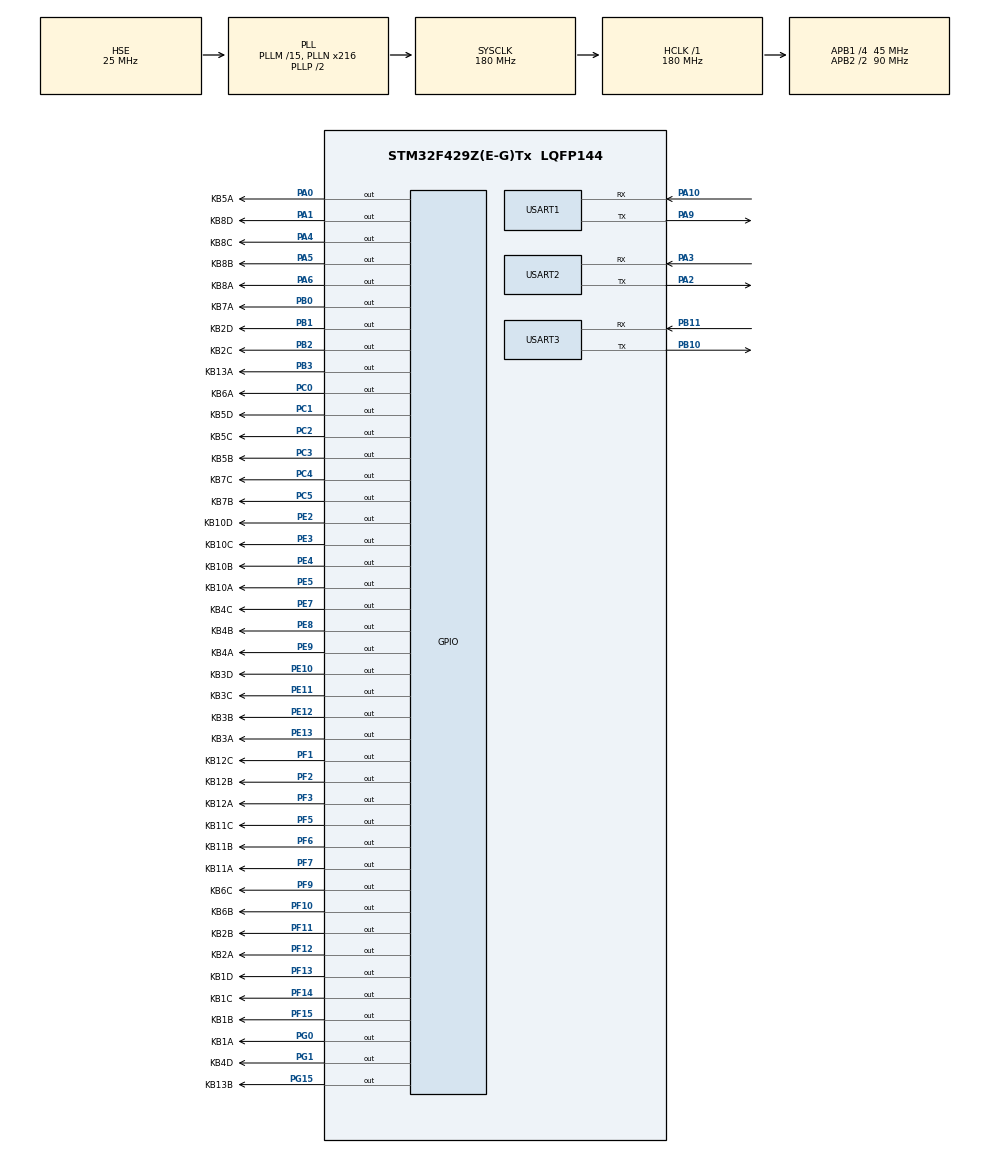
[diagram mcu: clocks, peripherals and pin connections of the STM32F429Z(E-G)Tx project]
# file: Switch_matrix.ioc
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Mcu.Family=STM32F4
Mcu.Name=STM32F429Z(E-G)Tx
Mcu.Package=LQFP144
NVIC.PriorityGroup=NVIC_PRIORITYGROUP_2
NVIC.USART1_IRQn=true\:1\:1\:true\:false\:true\:true\:true\:true
NVIC.USART2_IRQn=true\:1\:2\:true\:false\:true\:true\:true\:true
NVIC.USART3_IRQn=true\:1\:0\:true\:false\:true\:true\:true\:true
PA0/WKUP.GPIO_Label=KB5A
PA0/WKUP.Signal=GPIO_Output
PA1.GPIO_Label=KB8D
PA1.Signal=GPIO_Output
PA10.Mode=Asynchronous
PA10.Signal=USART1_RX
PA13.Mode=Serial_Wire
PA13.Signal=SYS_JTMS-SWDIO
PA14.Mode=Serial_Wire
PA14.Signal=SYS_JTCK-SWCLK
PA2.Mode=Asynchronous
PA2.Signal=USART2_TX
PA3.Mode=Asynchronous
PA3.Signal=USART2_RX
PA4.GPIO_Label=KB8C
PA4.Signal=GPIO_Output
PA5.GPIO_Label=KB8B
PA5.Signal=GPIO_Output
PA6.GPIO_Label=KB8A
PA6.Signal=GPIO_Output
PA9.Mode=Asynchronous
PA9.Signal=USART1_TX
PB0.GPIO_Label=KB7A
PB0.Signal=GPIO_Output
PB1.GPIO_Label=KB2D
PB1.Signal=GPIO_Output
PB10.Mode=Asynchronous
PB10.Signal=USART3_TX
PB11.Mode=Asynchronous
PB11.Signal=USART3_RX
PB2/BOOT1.GPIO_Label=KB2C
PB2/BOOT1.Signal=GPIO_Output
PB3.GPIO_Label=KB13A
PB3.Signal=GPIO_Output
PC0.GPIO_Label=KB6A
PC0.Signal=GPIO_Output
PC1.GPIO_Label=KB5D
PC1.Signal=GPIO_Output
PC14/OSC32_IN.Mode=LSE-External-Oscillator
PC14/OSC32_IN.Signal=RCC_OSC32_IN
PC15/OSC32_OUT.Mode=LSE-External-Oscillator
PC15/OSC32_OUT.Signal=RCC_OSC32_OUT
PC2.GPIO_Label=KB5C
PC2.Signal=GPIO_Output
PC3.GPIO_Label=KB5B
PC3.Signal=GPIO_Output
PC4.GPIO_Label=KB7C
PC4.Signal=GPIO_Output
PC5.GPIO_Label=KB7B
PC5.Signal=GPIO_Output
PE10.GPIO_Label=KB3D
PE10.PinState=GPIO_PIN_RESET
PE10.Signal=GPIO_Output
PE11.GPIO_Label=KB3C
PE11.Signal=GPIO_Output
PE12.GPIO_Label=KB3B
PE12.PinState=GPIO_PIN_SET
PE12.Signal=GPIO_Output
PE13.GPIO_Label=KB3A
PE13.Signal=GPIO_Output
PE2.GPIO_Label=KB10D
PE2.Signal=GPIO_Output
PE3.GPIO_Label=KB10C
PE3.Signal=GPIO_Output
PE4.GPIO_Label=KB10B
PE4.Signal=GPIO_Output
PE5.GPIO_Label=KB10A
PE5.Signal=GPIO_Output
PE7.GPIO_Label=KB4C
PE7.Signal=GPIO_Output
PE8.GPIO_Label=KB4B
PE8.PinState=GPIO_PIN_SET
PE8.Signal=GPIO_Output
PE9.GPIO_Label=KB4A
PE9.Signal=GPIO_Output
PF1.GPIO_Label=KB12C
PF1.Signal=GPIO_Output
PF10.GPIO_Label=KB6B
PF10.Signal=GPIO_Output
PF11.GPIO_Label=KB2B
PF11.Signal=GPIO_Output
PF12.GPIO_Label=KB2A
PF12.Signal=GPIO_Output
PF13.GPIO_Label=KB1D
PF13.Signal=GPIO_Output
PF14.GPIO_Label=KB1C
PF14.Signal=GPIO_Output
PF15.GPIO_Label=KB1B
PF15.PinState=GPIO_PIN_SET
PF15.Signal=GPIO_Output
PF2.GPIO_Label=KB12B
PF2.Signal=GPIO_Output
PF3.GPIO_Label=KB12A
PF3.PinState=GPIO_PIN_SET
PF3.Signal=GPIO_Output
PF5.GPIO_Label=KB11C
PF5.Signal=GPIO_Output
PF6.GPIO_Label=KB11B
PF6.Signal=GPIO_Output
PF7.GPIO_Label=KB11A
PF7.Signal=GPIO_Output
PF9.GPIO_Label=KB6C
PF9.Signal=GPIO_Output
PG0.GPIO_Label=KB1A
PG0.Signal=GPIO_Output
PG1.GPIO_Label=KB4D
PG1.Signal=GPIO_Output
PG15.GPIO_Label=KB13B
PG15.PinState=GPIO_PIN_SET
PG15.Signal=GPIO_Output
PH0/OSC_IN.Mode=HSE-External-Oscillator
PH0/OSC_IN.Signal=RCC_OSC_IN
PH1/OSC_OUT.Mode=HSE-External-Oscillator
PH1/OSC_OUT.Signal=RCC_OSC_OUT
ProjectManager.HeapSize=0x200
ProjectManager.StackSize=0x400
ProjectManager.TargetToolchain=MDK-ARM V5.32
RCC.48MHZClocksFreq_Value=90000000
RCC.AHBFreq_Value=180000000
RCC.APB1CLKDivider=RCC_HCLK_DIV4
RCC.APB1Freq_Value=45000000
RCC.APB1TimFreq_Value=90000000
RCC.APB2CLKDivider=RCC_HCLK_DIV2
RCC.APB2Freq_Value=90000000
RCC.APB2TimFreq_Value=180000000
RCC.CortexFreq_Value=180000000
RCC.HCLKFreq_Value=180000000
RCC.HSE_VALUE=25000000
RCC.HSI_VALUE=16000000
RCC.PLLM=15
RCC.PLLN=216
RCC.PLLSourceVirtual=RCC_PLLSOURCE_HSE
RCC.SYSCLKFreq_VALUE=180000000
RCC.SYSCLKSource=RCC_SYSCLKSOURCE_PLLCLK
RCC.VCOOutputFreq_Value=360000000
USART1.VirtualMode=VM_ASYNC
USART2.VirtualMode=VM_ASYNC
USART3.VirtualMode=VM_ASYNC
board=custom

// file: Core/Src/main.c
/* USER CODE BEGIN Header */
/**
  ******************************************************************************
  * @file           : main.c
  * @brief          : Main program body
  ******************************************************************************
  * @attention
  *
  * Copyright (c) 2022 STMicroelectronics.
  * All rights reserved.
  *
  * This software is licensed under terms that can be found in the LICENSE file
  * in the root directory of this software component.
  * If no LICENSE file comes with this software, it is provided AS-IS.
  *
  ******************************************************************************
  */
/* USER CODE END Header */
#include "main.h"
#include "usart.h"
#include "gpio.h"

/* USER CODE BEGIN Includes */
#include "stm32f4xx_it.h"
#include "string.h"
/* USER CODE END Includes */

/* USER CODE BEGIN PD */
#define USART_REC_LEN  			200  	//定义最大接收字节数 200
#define  UART_ENABLE_RE(USARTx)       USARTx.Instance->CR1|= (uint32_t)0x0004
#define  UART_DISABLE_RE(USARTx)      USARTx.Instance->CR1&= (~(uint32_t)0x0004)
/* USER CODE END PD */

void SystemClock_Config(void);
/* USER CODE BEGIN PFP */
void Data_Processing(void);  //串口数据处理函数
void GPIO_CONTROL_STATUS(GPIO_TypeDef* GPIOx, uint16_t GPIO_Pin, uint8_t status);
/* USER CODE END PFP */

/* USER CODE BEGIN 0 */

uint8_t Recevice_Buff[USART_REC_LEN];   //接收缓冲区
//接收状态
//bit15，	接收完成标志
//bit14，	接收到帧头
//bit13，  接收到正确数据类型
//bit12，  接收到数据长度
//bit11，  接收到帧尾
//bit10~0，	接收到的有效字节数目
uint16_t USART_RX_STA = 0;       //接收状态标记
#define RXBUFFERSIZE  1
extern uint8_t aRxBuffer[RXBUFFERSIZE];
uint8_t Recevice_Len = 0;
uint8_t Recevice_Len_temp = 0;
uint8_t Usart_Flag = 0;   //0: 串口一发送的数据 1： 串口二发送的数据
uint8_t USART_Hex[] = {0x70,0x61,0x67,0x65,0x20,0x6C,0x6F,0x63,0x61,0x6C,0xff,0xff,0xff};
/* USER CODE END 0 */

int main(void)
{
  /* USER CODE BEGIN 1 */
	uint8_t i = 0;  //循环变量
	uint8_t sum=0;
  /* USER CODE END 1 */

  /* MCU Configuration--------------------------------------------------------*/

  /* Reset of all peripherals, Initializes the Flash interface and the Systick. */
  HAL_Init();

  /* Configure the system clock */
  SystemClock_Config();

  /* Initialize all configured peripherals */
  MX_GPIO_Init();
  MX_USART1_UART_Init();
  MX_USART2_UART_Init();
  MX_USART3_UART_Init();

  /* Infinite loop */
  /* USER CODE BEGIN WHILE */
  while (1)
  {
		if(USART_RX_STA&0x8000) //接收到数据
		{
			//数据解析 以防数据覆盖关闭串口接收
			#if 1
			UART_DISABLE_RE(huart1);
			UART_DISABLE_RE(huart2);
			UART_DISABLE_RE(huart3);
			#endif
			//发送接收到的数据
			if(Usart_Flag == 0)
			{
				HAL_UART_Transmit(&huart1,(uint8_t *)Recevice_Buff,USART_RX_STA&0x0fff,1000);
				while(__HAL_UART_GET_FLAG(&huart1,UART_FLAG_TC)!=SET);		//等待发送结束
				HAL_UART_Transmit(&huart2,(uint8_t *)USART_Hex,sizeof(USART_Hex),100);
				while(__HAL_UART_GET_FLAG(&huart2,UART_FLAG_TC)!=SET);		//等待发送结束
			}else if(Usart_Flag == 1)
			{
				HAL_UART_Transmit(&huart1,(uint8_t *)Recevice_Buff,USART_RX_STA&0x0fff,1000);
				while(__HAL_UART_GET_FLAG(&huart1,UART_FLAG_TC)!=SET);		//等待发送结束
			}
			else if(Usart_Flag == 2)
			{
				HAL_UART_Transmit(&huart3,(uint8_t *)Recevice_Buff,USART_RX_STA&0x0fff,1000);
				while(__HAL_UART_GET_FLAG(&huart3,UART_FLAG_TC)!=SET);		//等待发送结束
			}
			/* 0x01: 衰减1 通道控制
			 * 0x02: 衰减2 通道控制
			 * 0x03: 开关控制
			 * 0x04: 上位机直接设置值控制衰减
			 */
			switch(Recevice_Buff[0])
			{
				case 0x01:
				{
					GPIO_CONTROL_STATUS(KB1A_GPIO_Port,KB1A_Pin,(Recevice_Buff[2]&0x02)>>1);
					GPIO_CONTROL_STATUS(KB1B_GPIO_Port,KB1B_Pin,(Recevice_Buff[2]&0x01)>>0);

					GPIO_CONTROL_STATUS(KB1C_GPIO_Port,KB1C_Pin,(Recevice_Buff[3]&0x20)>>5);
					GPIO_CONTROL_STATUS(KB1D_GPIO_Port,KB1D_Pin,(Recevice_Buff[3]&0x10)>>4);
					GPIO_CONTROL_STATUS(KB2A_GPIO_Port,KB2A_Pin,(Recevice_Buff[3]&0x08)>>3);
					GPIO_CONTROL_STATUS(KB2B_GPIO_Port,KB2B_Pin,(Recevice_Buff[3]&0x04)>>2);
					GPIO_CONTROL_STATUS(KB2C_GPIO_Port,KB2C_Pin,(Recevice_Buff[3]&0x02)>>1);
					GPIO_CONTROL_STATUS(KB2D_GPIO_Port,KB2D_Pin,(Recevice_Buff[3]&0x01)>>0);

					GPIO_CONTROL_STATUS(KB3A_GPIO_Port,KB3A_Pin,(Recevice_Buff[4]&0x02)>>1);
					GPIO_CONTROL_STATUS(KB3B_GPIO_Port,KB3B_Pin,(Recevice_Buff[4]&0x01)>>0);
				}break;
				case 0x02:
				{
					GPIO_CONTROL_STATUS(KB4A_GPIO_Port,KB4A_Pin,(Recevice_Buff[2]&0x02)>>1);
					GPIO_CONTROL_STATUS(KB4B_GPIO_Port,KB4B_Pin,(Recevice_Buff[2]&0x01)>>0);

					GPIO_CONTROL_STATUS(KB4C_GPIO_Port,KB4C_Pin,(Recevice_Buff[3]&0x20)>>5);
					GPIO_CONTROL_STATUS(KB4D_GPIO_Port,KB4D_Pin,(Recevice_Buff[3]&0x10)>>4);
					GPIO_CONTROL_STATUS(KB5A_GPIO_Port,KB5A_Pin,(Recevice_Buff[3]&0x08)>>3);
					GPIO_CONTROL_STATUS(KB5B_GPIO_Port,KB5B_Pin,(Recevice_Buff[3]&0x04)>>2);
					GPIO_CONTROL_STATUS(KB5C_GPIO_Port,KB5C_Pin,(Recevice_Buff[3]&0x02)>>1);
					GPIO_CONTROL_STATUS(KB5D_GPIO_Port,KB5D_Pin,(Recevice_Buff[3]&0x01)>>0);

					GPIO_CONTROL_STATUS(KB13A_GPIO_Port,KB13A_Pin,(Recevice_Buff[4]&0x02)>>1);
					GPIO_CONTROL_STATUS(KB13B_GPIO_Port,KB13B_Pin,(Recevice_Buff[4]&0x01)>>0);
				}break;
				/* 链路控制
				 */
				case 0x03:
				{
					for(i =0; i<Recevice_Buff[1]; i++)
					{
						switch(Recevice_Buff[i+2]) //共30条链路选择
						{
							case 0x01: HAL_GPIO_WritePin(KB6A_GPIO_Port,KB6A_Pin,GPIO_PIN_RESET); break;
							case 0x02: HAL_GPIO_WritePin(KB6A_GPIO_Port,KB6A_Pin,GPIO_PIN_SET);   break;

							case 0x03: HAL_GPIO_WritePin(KB6B_GPIO_Port,KB6B_Pin,GPIO_PIN_RESET); break;
							case 0x04: HAL_GPIO_WritePin(KB6B_GPIO_Port,KB6B_Pin,GPIO_PIN_SET);   break;

							case 0x05: HAL_GPIO_WritePin(KB6C_GPIO_Port,KB6C_Pin,GPIO_PIN_RESET); break;
							case 0x06: HAL_GPIO_WritePin(KB6C_GPIO_Port,KB6C_Pin,GPIO_PIN_SET);   break;

							case 0x07:
								HAL_GPIO_WritePin(KB7C_GPIO_Port,KB7C_Pin,GPIO_PIN_RESET);
								HAL_GPIO_WritePin(KB7A_GPIO_Port,KB7A_Pin,GPIO_PIN_RESET); break;
							case 0x08:
								HAL_GPIO_WritePin(KB7C_GPIO_Port,KB7C_Pin,GPIO_PIN_RESET);
								HAL_GPIO_WritePin(KB7A_GPIO_Port,KB7A_Pin,GPIO_PIN_SET);   break;
							case 0x09:
								HAL_GPIO_WritePin(KB7C_GPIO_Port,KB7C_Pin,GPIO_PIN_SET);
								HAL_GPIO_WritePin(KB7B_GPIO_Port,KB7B_Pin,GPIO_PIN_RESET); break;
							case 0x0a:
								HAL_GPIO_WritePin(KB7C_GPIO_Port,KB7C_Pin,GPIO_PIN_SET);
								HAL_GPIO_WritePin(KB7B_GPIO_Port,KB7B_Pin,GPIO_PIN_SET);   break;

							case 0x0b:
								HAL_GPIO_WritePin(KB8C_GPIO_Port,KB8C_Pin,GPIO_PIN_RESET);
								HAL_GPIO_WritePin(KB8A_GPIO_Port,KB8A_Pin,GPIO_PIN_RESET); break;
							case 0x0c:
								HAL_GPIO_WritePin(KB8C_GPIO_Port,KB8C_Pin,GPIO_PIN_RESET);
								HAL_GPIO_WritePin(KB8A_GPIO_Port,KB8A_Pin,GPIO_PIN_SET);   break;
							case 0x0d:
								HAL_GPIO_WritePin(KB8C_GPIO_Port,KB8C_Pin,GPIO_PIN_SET);
								HAL_GPIO_WritePin(KB8B_GPIO_Port,KB8B_Pin,GPIO_PIN_RESET); break;
							case 0x0e:
								HAL_GPIO_WritePin(KB8C_GPIO_Port,KB8C_Pin,GPIO_PIN_SET);
								HAL_GPIO_WritePin(KB8B_GPIO_Port,KB8B_Pin,GPIO_PIN_SET);   break;

							case 0x0f: HAL_GPIO_WritePin(KB8D_GPIO_Port,KB8D_Pin,GPIO_PIN_RESET); break;
							case 0x10: HAL_GPIO_WritePin(KB8D_GPIO_Port,KB8D_Pin,GPIO_PIN_SET);   break;

							case 0x11:
								HAL_GPIO_WritePin(KB12A_GPIO_Port,KB12A_Pin,GPIO_PIN_SET);
								HAL_GPIO_WritePin(KB12B_GPIO_Port,KB12B_Pin,GPIO_PIN_RESET);
								HAL_GPIO_WritePin(KB12C_GPIO_Port,KB12C_Pin,GPIO_PIN_RESET);
								HAL_GPIO_WritePin(KB11A_GPIO_Port,KB11A_Pin,GPIO_PIN_RESET); break;
							case 0x12:
								HAL_GPIO_WritePin(KB12A_GPIO_Port,KB12A_Pin,GPIO_PIN_SET);
								HAL_GPIO_WritePin(KB12B_GPIO_Port,KB12B_Pin,GPIO_PIN_RESET);
								HAL_GPIO_WritePin(KB12C_GPIO_Port,KB12C_Pin,GPIO_PIN_RESET);
								HAL_GPIO_WritePin(KB11A_GPIO_Port,KB11A_Pin,GPIO_PIN_SET);   break;
							case 0x13:
								HAL_GPIO_WritePin(KB12A_GPIO_Port,KB12A_Pin,GPIO_PIN_RESET);
								HAL_GPIO_WritePin(KB12B_GPIO_Port,KB12B_Pin,GPIO_PIN_SET);
								HAL_GPIO_WritePin(KB12C_GPIO_Port,KB12C_Pin,GPIO_PIN_RESET);
								HAL_GPIO_WritePin(KB11B_GPIO_Port,KB11B_Pin,GPIO_PIN_RESET); break;
							case 0x14:
								HAL_GPIO_WritePin(KB12A_GPIO_Port,KB12A_Pin,GPIO_PIN_RESET);
								HAL_GPIO_WritePin(KB12B_GPIO_Port,KB12B_Pin,GPIO_PIN_SET);
								HAL_GPIO_WritePin(KB12C_GPIO_Port,KB12C_Pin,GPIO_PIN_RESET);
								HAL_GPIO_WritePin(KB11B_GPIO_Port,KB11B_Pin,GPIO_PIN_SET);   break;
							case 0x15:
								HAL_GPIO_WritePin(KB12A_GPIO_Port,KB12A_Pin,GPIO_PIN_RESET);
								HAL_GPIO_WritePin(KB12B_GPIO_Port,KB12B_Pin,GPIO_PIN_RESET);
								HAL_GPIO_WritePin(KB12C_GPIO_Port,KB12C_Pin,GPIO_PIN_SET);
								HAL_GPIO_WritePin(KB11C_GPIO_Port,KB11C_Pin,GPIO_PIN_RESET); break;
							case 0x16:
								HAL_GPIO_WritePin(KB12A_GPIO_Port,KB12A_Pin,GPIO_PIN_RESET);
								HAL_GPIO_WritePin(KB12B_GPIO_Port,KB12B_Pin,GPIO_PIN_RESET);
								HAL_GPIO_WritePin(KB12C_GPIO_Port,KB12C_Pin,GPIO_PIN_SET);
								HAL_GPIO_WritePin(KB11C_GPIO_Port,KB11C_Pin,GPIO_PIN_SET);   break;

							case 0x17: HAL_GPIO_WritePin(KB10A_GPIO_Port,KB10A_Pin,GPIO_PIN_RESET); break;
							case 0x18: HAL_GPIO_WritePin(KB10A_GPIO_Port,KB10A_Pin,GPIO_PIN_SET);   break;

							case 0x19: HAL_GPIO_WritePin(KB10B_GPIO_Port,KB10B_Pin,GPIO_PIN_RESET); break;
							case 0x1a: HAL_GPIO_WritePin(KB10B_GPIO_Port,KB10B_Pin,GPIO_PIN_SET);   break;

							case 0x1b: HAL_GPIO_WritePin(KB10C_GPIO_Port,KB10C_Pin,GPIO_PIN_RESET); break;
							case 0x1c: HAL_GPIO_WritePin(KB10C_GPIO_Port,KB10C_Pin,GPIO_PIN_SET);   break;

							case 0x1d: HAL_GPIO_WritePin(KB10D_GPIO_Port,KB10D_Pin,GPIO_PIN_RESET); break;
							case 0x1e: HAL_GPIO_WritePin(KB10D_GPIO_Port,KB10D_Pin,GPIO_PIN_SET);   break;
							default:  break;
						}
					}
				} break;
				case 0x04:
				{
					if(Recevice_Buff[2]<=30)
					{
						HAL_GPIO_WritePin(KB1A_GPIO_Port,KB1A_Pin,GPIO_PIN_RESET);
						HAL_GPIO_WritePin(KB1B_GPIO_Port,KB1B_Pin,GPIO_PIN_SET);
						HAL_GPIO_WritePin(KB3A_GPIO_Port,KB3A_Pin,GPIO_PIN_RESET);
						HAL_GPIO_WritePin(KB3B_GPIO_Port,KB3B_Pin,GPIO_PIN_SET);
						sum = Recevice_Buff[2]*2;  //取得原本的十六进制值
						GPIO_CONTROL_STATUS(KB1C_GPIO_Port,KB1C_Pin,sum>>5&0x01);
						GPIO_CONTROL_STATUS(KB1D_GPIO_Port,KB1D_Pin,sum>>4&0x01);
						GPIO_CONTROL_STATUS(KB2A_GPIO_Port,KB2A_Pin,sum>>3&0x01);
						GPIO_CONTROL_STATUS(KB2B_GPIO_Port,KB2B_Pin,sum>>2&0x01);
						GPIO_CONTROL_STATUS(KB2C_GPIO_Port,KB2C_Pin,sum>>1&0x01);
						GPIO_CONTROL_STATUS(KB2D_GPIO_Port,KB2D_Pin,sum>>0&0x01);
					}
					else if(Recevice_Buff[2]>30&&Recevice_Buff[2]<=60)
					{
						HAL_GPIO_WritePin(KB1A_GPIO_Port,KB1A_Pin,GPIO_PIN_SET);
						HAL_GPIO_WritePin(KB1B_GPIO_Port,KB1B_Pin,GPIO_PIN_RESET);
						HAL_GPIO_WritePin(KB3A_GPIO_Port,KB3A_Pin,GPIO_PIN_RESET);
						HAL_GPIO_WritePin(KB3B_GPIO_Port,KB3B_Pin,GPIO_PIN_SET);
						sum = (Recevice_Buff[2]-30)*2;  //取得原本的十六进制值
						GPIO_CONTROL_STATUS(KB1C_GPIO_Port,KB1C_Pin,sum>>5&0x01);
						GPIO_CONTROL_STATUS(KB1D_GPIO_Port,KB1D_Pin,sum>>4&0x01);
						GPIO_CONTROL_STATUS(KB2A_GPIO_Port,KB2A_Pin,sum>>3&0x01);
						GPIO_CONTROL_STATUS(KB2B_GPIO_Port,KB2B_Pin,sum>>2&0x01);
						GPIO_CONTROL_STATUS(KB2C_GPIO_Port,KB2C_Pin,sum>>1&0x01);
						GPIO_CONTROL_STATUS(KB2D_GPIO_Port,KB2D_Pin,sum>>0&0x01);
					}
					else if(Recevice_Buff[2]>60&&Recevice_Buff[2]<=90)
					{
						HAL_GPIO_WritePin(KB1A_GPIO_Port,KB1A_Pin,GPIO_PIN_SET);
						HAL_GPIO_WritePin(KB1B_GPIO_Port,KB1B_Pin,GPIO_PIN_RESET);
						HAL_GPIO_WritePin(KB3A_GPIO_Port,KB3A_Pin,GPIO_PIN_SET);
						HAL_GPIO_WritePin(KB3B_GPIO_Port,KB3B_Pin,GPIO_PIN_RESET);
						sum = (Recevice_Buff[2]-60)*2;  //取得原本的十六进制值
						GPIO_CONTROL_STATUS(KB1C_GPIO_Port,KB1C_Pin,sum>>5&0x01);
						GPIO_CONTROL_STATUS(KB1D_GPIO_Port,KB1D_Pin,sum>>4&0x01);
						GPIO_CONTROL_STATUS(KB2A_GPIO_Port,KB2A_Pin,sum>>3&0x01);
						GPIO_CONTROL_STATUS(KB2B_GPIO_Port,KB2B_Pin,sum>>2&0x01);
						GPIO_CONTROL_STATUS(KB2C_GPIO_Port,KB2C_Pin,sum>>1&0x01);
						GPIO_CONTROL_STATUS(KB2D_GPIO_Port,KB2D_Pin,sum>>0&0x01);
					}
					if(Recevice_Buff[6]<=30)
					{
						HAL_GPIO_WritePin(KB4A_GPIO_Port,KB4A_Pin,GPIO_PIN_RESET);
						HAL_GPIO_WritePin(KB4B_GPIO_Port,KB4B_Pin,GPIO_PIN_SET);
						HAL_GPIO_WritePin(KB13A_GPIO_Port,KB13A_Pin,GPIO_PIN_RESET);
						HAL_GPIO_WritePin(KB13B_GPIO_Port,KB13B_Pin,GPIO_PIN_SET);
						sum = Recevice_Buff[6]*2;  //取得原本的十六进制值

						GPIO_CONTROL_STATUS(KB4C_GPIO_Port,KB4C_Pin,sum>>5&0x01);
						GPIO_CONTROL_STATUS(KB4D_GPIO_Port,KB4D_Pin,sum>>4&0x01);
						GPIO_CONTROL_STATUS(KB5A_GPIO_Port,KB5A_Pin,sum>>3&0x01);
						GPIO_CONTROL_STATUS(KB5B_GPIO_Port,KB5B_Pin,sum>>2&0x01);
						GPIO_CONTROL_STATUS(KB5C_GPIO_Port,KB5C_Pin,sum>>1&0x01);
						GPIO_CONTROL_STATUS(KB5D_GPIO_Port,KB5D_Pin,sum>>0&0x01);
					}
					else if(Recevice_Buff[6]>30&&Recevice_Buff[6]<=60)
					{
						HAL_GPIO_WritePin(KB4A_GPIO_Port,KB4A_Pin,GPIO_PIN_SET);
						HAL_GPIO_WritePin(KB4B_GPIO_Port,KB4B_Pin,GPIO_PIN_RESET);
						HAL_GPIO_WritePin(KB13A_GPIO_Port,KB13A_Pin,GPIO_PIN_RESET);
						HAL_GPIO_WritePin(KB13B_GPIO_Port,KB13B_Pin,GPIO_PIN_SET);
						sum = (Recevice_Buff[6]-30)*2;  //取得原本的十六进制值

						GPIO_CONTROL_STATUS(KB4C_GPIO_Port,KB4C_Pin,sum>>5&0x01);
						GPIO_CONTROL_STATUS(KB4D_GPIO_Port,KB4D_Pin,sum>>4&0x01);
						GPIO_CONTROL_STATUS(KB5A_GPIO_Port,KB5A_Pin,sum>>3&0x01);
						GPIO_CONTROL_STATUS(KB5B_GPIO_Port,KB5B_Pin,sum>>2&0x01);
						GPIO_CONTROL_STATUS(KB5C_GPIO_Port,KB5C_Pin,sum>>1&0x01);
						GPIO_CONTROL_STATUS(KB5D_GPIO_Port,KB5D_Pin,sum>>0&0x01);
					}
					else if(Recevice_Buff[6]>60&&Recevice_Buff[6]<=90)
					{
						HAL_GPIO_WritePin(KB4A_GPIO_Port,KB4A_Pin,GPIO_PIN_SET);
						HAL_GPIO_WritePin(KB4B_GPIO_Port,KB4B_Pin,GPIO_PIN_RESET);
						HAL_GPIO_WritePin(KB13A_GPIO_Port,KB13A_Pin,GPIO_PIN_SET);
						HAL_GPIO_WritePin(KB13B_GPIO_Port,KB13B_Pin,GPIO_PIN_RESET);
						sum = (Recevice_Buff[6]-60)*2;  //取得原本的十六进制值

						GPIO_CONTROL_STATUS(KB4C_GPIO_Port,KB4C_Pin,sum>>5&0x01);
						GPIO_CONTROL_STATUS(KB4D_GPIO_Port,KB4D_Pin,sum>>4&0x01);
						GPIO_CONTROL_STATUS(KB5A_GPIO_Port,KB5A_Pin,sum>>3&0x01);
						GPIO_CONTROL_STATUS(KB5B_GPIO_Port,KB5B_Pin,sum>>2&0x01);
						GPIO_CONTROL_STATUS(KB5C_GPIO_Port,KB5C_Pin,sum>>1&0x01);
						GPIO_CONTROL_STATUS(KB5D_GPIO_Port,KB5D_Pin,sum>>0&0x01);
					}
				} break;
				default :  break; //将所有链路IO拉低
			}
			//清除数据及接收标准位
			memset(Recevice_Buff,0x00,USART_RX_STA&0x0fff);
			USART_RX_STA = 0;
			//使能串口接收
			#if 1
			UART_ENABLE_RE(huart1);
			UART_ENABLE_RE(huart2);
			UART_ENABLE_RE(huart3);
			#endif
		}
		else
		{
			__WFI();  //未接受到数据进入睡眠模式
		}
    /* USER CODE END WHILE */

  }
}

void SystemClock_Config(void)
{
  RCC_OscInitTypeDef RCC_OscInitStruct = {0};
  RCC_ClkInitTypeDef RCC_ClkInitStruct = {0};

  /** Configure the main internal regulator output voltage
  */
  __HAL_RCC_PWR_CLK_ENABLE();
  __HAL_PWR_VOLTAGESCALING_CONFIG(PWR_REGULATOR_VOLTAGE_SCALE1);

  /** Initializes the RCC Oscillators according to the specified parameters
  * in the RCC_OscInitTypeDef structure.
  */
  RCC_OscInitStruct.OscillatorType = RCC_OSCILLATORTYPE_HSE;
  RCC_OscInitStruct.HSEState = RCC_HSE_ON;
  RCC_OscInitStruct.PLL.PLLState = RCC_PLL_ON;
  RCC_OscInitStruct.PLL.PLLSource = RCC_PLLSOURCE_HSE;
  RCC_OscInitStruct.PLL.PLLM = 15;
  RCC_OscInitStruct.PLL.PLLN = 216;
  RCC_OscInitStruct.PLL.PLLP = RCC_PLLP_DIV2;
  RCC_OscInitStruct.PLL.PLLQ = 4;
  if (HAL_RCC_OscConfig(&RCC_OscInitStruct) != HAL_OK)
  {
    Error_Handler();
  }

  /** Activate the Over-Drive mode
  */
  if (HAL_PWREx_EnableOverDrive() != HAL_OK)
  {
    Error_Handler();
  }

  /** Initializes the CPU, AHB and APB buses clocks
  */
  RCC_ClkInitStruct.ClockType = RCC_CLOCKTYPE_HCLK|RCC_CLOCKTYPE_SYSCLK
                              |RCC_CLOCKTYPE_PCLK1|RCC_CLOCKTYPE_PCLK2;
  RCC_ClkInitStruct.SYSCLKSource = RCC_SYSCLKSOURCE_PLLCLK;
  RCC_ClkInitStruct.AHBCLKDivider = RCC_SYSCLK_DIV1;
  RCC_ClkInitStruct.APB1CLKDivider = RCC_HCLK_DIV4;
  RCC_ClkInitStruct.APB2CLKDivider = RCC_HCLK_DIV2;

  if (HAL_RCC_ClockConfig(&RCC_ClkInitStruct, FLASH_LATENCY_5) != HAL_OK)
  {
    Error_Handler();
  }
}

/* USER CODE BEGIN 4 */
void GPIO_CONTROL_STATUS(GPIO_TypeDef* GPIOx, uint16_t GPIO_Pin, uint8_t status)
{
	if(status == 1)
	{
		HAL_GPIO_WritePin(GPIOx,GPIO_Pin,GPIO_PIN_SET);
	}
	else if(status == 0)
	{
		HAL_GPIO_WritePin(GPIOx,GPIO_Pin,GPIO_PIN_RESET);
	}
}

//接收中断回调函数
void HAL_UART_RxCpltCallback(UART_HandleTypeDef *huart)
{
	UNUSED(huart);
	if(huart->Instance==USART1)//如果是串口1
	{
		Usart_Flag = 0;
		Data_Processing();
		HAL_UART_Receive_IT(&huart1, (uint8_t *)aRxBuffer, RXBUFFERSIZE);
	}
	else if(huart->Instance==USART2)
	{
		Usart_Flag = 1;
		Data_Processing();
		HAL_UART_Receive_IT(&huart2, (uint8_t *)aRxBuffer, RXBUFFERSIZE);
	}
	else if(huart->Instance==USART3)
	{
		Usart_Flag = 2;
		Data_Processing();
		HAL_UART_Receive_IT(&huart3, (uint8_t *)aRxBuffer, RXBUFFERSIZE);
	}
}
//bit15，	接收完成标志
//bit14，	接收到帧头
//bit13，  接收到正确数据类型
//bit12，  接收到数据长度 OR 开关选择位
//bit11~0，	接收到的有效字节数目
//串口接收处理函数
void Data_Processing(void)
{
	if((USART_RX_STA&0x8000)==0)//接收未完成
	{
		if(USART_RX_STA&0x4000)//接收到了帧头
		{
			if(USART_RX_STA&0x2000)  //接收到正确数据类型
			{
				if(USART_RX_STA&0x1000)  //接收到数据长度
				{
					if(Recevice_Len_temp>0)
					{
						//接收数据
						Recevice_Buff[USART_RX_STA&0x0fff] = aRxBuffer[0];
						USART_RX_STA++;
						Recevice_Len_temp--;
					}
					else{
						if(aRxBuffer[0] == 0xC1) //检测到帧尾
						{
							//接收完成
							USART_RX_STA |= 0x8000;
						}
						else{
							memset(Recevice_Buff,0x00,USART_RX_STA&0x0fff);
							USART_RX_STA = 0;  //接收错误
						}
					}
				}
				else
				{
					if(aRxBuffer[0]>USART_REC_LEN)
					{
						memset(Recevice_Buff,0x00,USART_RX_STA&0x0fff);
						USART_RX_STA=0; //接收错误，数据长度超出限制
					}
					else
					{
						Recevice_Len = aRxBuffer[0];
						Recevice_Len_temp = Recevice_Len;
						Recevice_Buff[USART_RX_STA&0x0fff] = aRxBuffer[0];
						USART_RX_STA++;
						USART_RX_STA |= 0x1000;
					}
				}
			}
			else
			{
				switch(aRxBuffer[0])
				{
					case 0x01: USART_RX_STA|=0x2000; Recevice_Buff[USART_RX_STA&0x0fff]=aRxBuffer[0]; USART_RX_STA++; break;
					case 0x02: USART_RX_STA|=0x2000; Recevice_Buff[USART_RX_STA&0x0fff]=aRxBuffer[0]; USART_RX_STA++; break;
					case 0x03: USART_RX_STA|=0x2000; Recevice_Buff[USART_RX_STA&0x0fff]=aRxBuffer[0]; USART_RX_STA++; break;
					case 0x04: USART_RX_STA|=0x2000; Recevice_Buff[USART_RX_STA&0x0fff]=aRxBuffer[0]; USART_RX_STA++; break;
					default: USART_RX_STA=0; break; //接收数据类型错误，重新接收
				}
			}
		}
		else //还没收到0XC0 帧头
		{
			if(aRxBuffer[0]==0xC0)USART_RX_STA|=0x4000;
			else
			{
				USART_RX_STA = 0;  //接收错误
			}
		}
	}
}
/* USER CODE END 4 */

void Error_Handler(void)
{
  __disable_irq();
  while (1)
  {
  }
}
